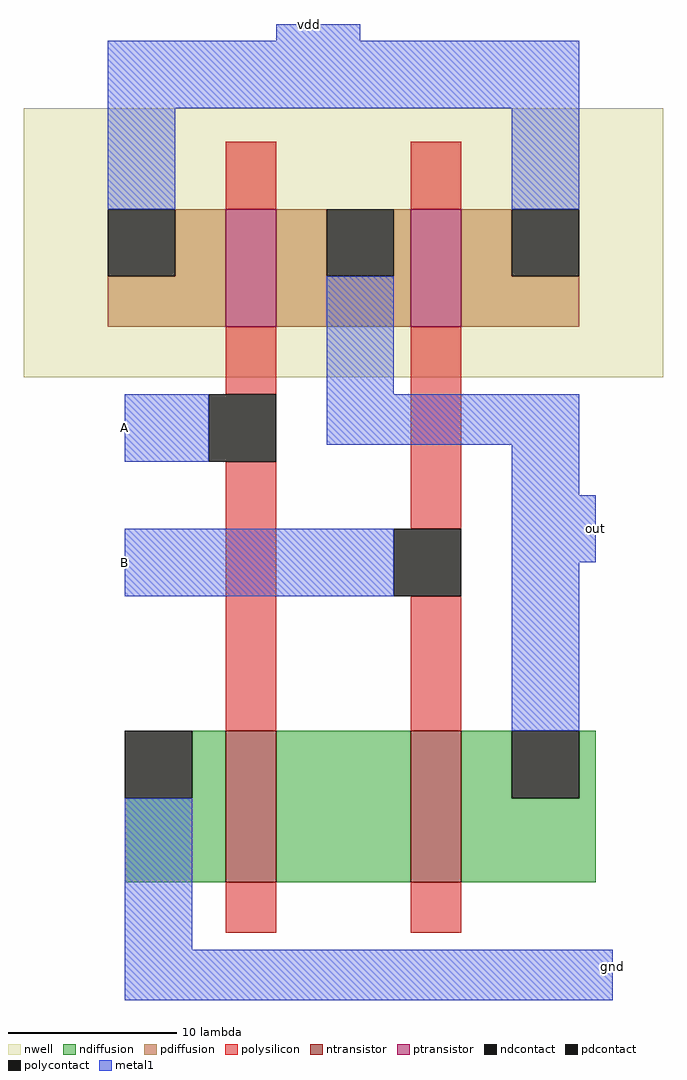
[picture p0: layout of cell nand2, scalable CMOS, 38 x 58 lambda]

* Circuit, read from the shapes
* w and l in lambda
.subckt nand2 A B gnd out vdd
M1 n1 A gnd VSUBS nfet w=9 l=3
M2 out B n1 VSUBS nfet w=9 l=3
M3 out A vdd n2 pfet w=7 l=3
M4 vdd B out n2 pfet w=7 l=3
.ends

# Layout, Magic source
magic
tech scmos
<< nwell >>
rect -7 14 31 30
<< polysilicon >>
rect 5 24 8 28
rect 16 24 19 28
rect 5 13 8 17
rect 5 -7 8 9
rect 16 5 19 17
rect 16 -7 19 1
rect 5 -19 8 -16
rect 16 -19 19 -16
<< ndiffusion >>
rect 3 -11 5 -7
rect -1 -16 5 -11
rect 8 -16 16 -7
rect 19 -11 22 -7
rect 26 -11 27 -7
rect 19 -16 27 -11
<< pdiffusion >>
rect 2 20 5 24
rect -2 17 5 20
rect 8 20 11 24
rect 15 20 16 24
rect 8 17 16 20
rect 19 20 22 24
rect 19 17 26 20
<< metal1 >>
rect 8 34 13 35
rect -2 30 26 34
rect -2 24 2 30
rect 22 24 26 30
rect 11 13 15 20
rect -1 9 4 13
rect 11 10 26 13
rect 22 7 26 10
rect -1 1 15 5
rect 22 3 27 7
rect 22 -7 26 3
rect -1 -20 3 -11
rect -1 -23 28 -20
<< ntransistor >>
rect 5 -16 8 -7
rect 16 -16 19 -7
<< ptransistor >>
rect 5 17 8 24
rect 16 17 19 24
<< polycontact >>
rect 4 9 8 13
rect 15 1 19 5
<< ndcontact >>
rect -1 -11 3 -7
rect 22 -11 26 -7
<< pdcontact >>
rect -2 20 2 24
rect 11 20 15 24
rect 22 20 26 24
<< labels >>
rlabel metal1 -1 11 -1 11 1 A
rlabel metal1 -1 3 -1 3 1 B
rlabel metal1 27 5 27 5 7 out
rlabel metal1 10 35 10 35 5 vdd
rlabel metal1 28 -21 28 -21 8 gnd
<< end >>
